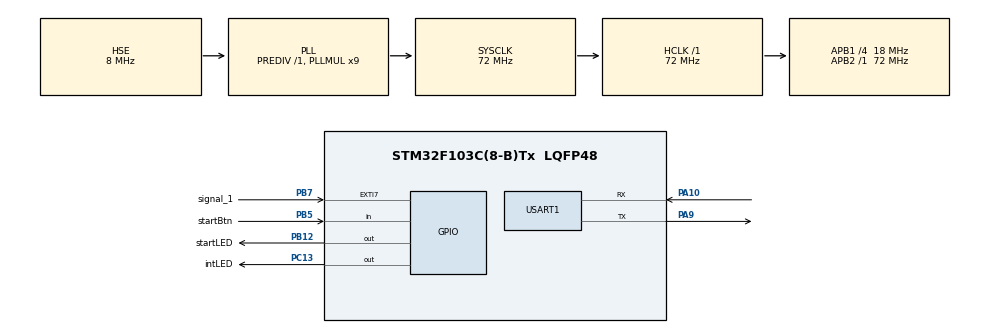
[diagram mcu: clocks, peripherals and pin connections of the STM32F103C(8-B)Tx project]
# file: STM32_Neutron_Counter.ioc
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FREERTOS.Tasks01=defaultTask,24,128,StartDefaultTask,Default,NULL,Dynamic,NULL,NULL;ledTask,24,128,StartLedTask,Default,NULL,Dynamic,NULL,NULL;dispTask,24,128,StartDispTask,Default,NULL,Dynamic,NULL,NULL;uartTask,24,128,StartUartTask,Default,NULL,Dynamic,NULL,NULL;startBtnTask,24,128,startStartBtnTask,Default,NULL,Dynamic,NULL,NULL
FREERTOS.configTOTAL_HEAP_SIZE=4096
Mcu.Family=STM32F1
Mcu.Name=STM32F103C(8-B)Tx
Mcu.Package=LQFP48
NVIC.EXTI9_5_IRQn=true\:0\:0\:false\:false\:true\:false\:true\:true
NVIC.PriorityGroup=NVIC_PRIORITYGROUP_4
NVIC.TIM2_IRQn=true\:0\:0\:false\:false\:true\:false\:false\:true
NVIC.TIM3_IRQn=true\:5\:0\:false\:false\:true\:true\:true\:true
NVIC.TimeBase=TIM2_IRQn
NVIC.TimeBaseIP=TIM2
PA10.Mode=Asynchronous
PA10.Signal=USART1_RX
PA13.Mode=Serial_Wire
PA13.Signal=SYS_JTMS-SWDIO
PA14.Mode=Serial_Wire
PA14.Signal=SYS_JTCK-SWCLK
PA9.Mode=Asynchronous
PA9.Signal=USART1_TX
PB12.GPIO_Label=startLED
PB12.GPIO_ModeDefaultOutputPP=GPIO_MODE_OUTPUT_PP
PB12.GPIO_PuPd=GPIO_NOPULL
PB12.Signal=GPIO_Output
PB5.GPIO_Label=startBtn
PB5.Signal=GPIO_Input
PB7.GPIO_Label=signal_1
PB7.GPIO_ModeDefaultEXTI=GPIO_MODE_IT_RISING_FALLING
PB7.Signal=GPXTI7
PC13-TAMPER-RTC.GPIO_Label=intLED
PC13-TAMPER-RTC.GPIO_ModeDefaultOutputPP=GPIO_MODE_OUTPUT_OD
PC13-TAMPER-RTC.Signal=GPIO_Output
PD0-OSC_IN.Mode=HSE-External-Oscillator
PD0-OSC_IN.Signal=RCC_OSC_IN
PD1-OSC_OUT.Mode=HSE-External-Oscillator
PD1-OSC_OUT.Signal=RCC_OSC_OUT
ProjectManager.HeapSize=0x200
ProjectManager.StackSize=0x400
ProjectManager.TargetToolchain=STM32CubeIDE
RCC.AHBFreq_Value=72000000
RCC.APB1CLKDivider=RCC_HCLK_DIV4
RCC.APB1Freq_Value=18000000
RCC.APB1TimFreq_Value=36000000
RCC.APB2Freq_Value=72000000
RCC.APB2TimFreq_Value=72000000
RCC.HCLKFreq_Value=72000000
RCC.PLLMUL=RCC_PLL_MUL9
RCC.PLLSourceVirtual=RCC_PLLSOURCE_HSE
RCC.SYSCLKFreq_VALUE=72000000
RCC.SYSCLKSource=RCC_SYSCLKSOURCE_PLLCLK
RCC.USBFreq_Value=72000000
TIM3.Period=499
TIM3.Prescaler=3599
TIM3.TIM_MasterOutputTrigger=TIM_TRGO_UPDATE
USART1.VirtualMode=VM_ASYNC
VP_FREERTOS_VS_CMSIS_V2.Mode=CMSIS_V2
VP_SYS_VS_tim2.Mode=TIM2
VP_TIM3_VS_ClockSourceINT.Mode=Internal
board=custom

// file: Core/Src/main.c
/* USER CODE BEGIN Header */
/**
  ******************************************************************************
  * @file           : main.c
  * @brief          : Main program body
  ******************************************************************************
  * @attention
  *
  * <h2><center>&copy; Copyright (c) 2020 STMicroelectronics.
  * All rights reserved.</center></h2>
  *
  * This software component is licensed by ST under BSD 3-Clause license,
  * the "License"; You may not use this file except in compliance with the
  * License. You may obtain a copy of the License at:
  *                        opensource.org/licenses/BSD-3-Clause
  *
  ******************************************************************************
  */
/* USER CODE END Header */

#include "main.h"
#include "cmsis_os.h"

/* USER CODE BEGIN Includes */
#include "stdio.h"
#include "stm32_tm1637.h"
#include "stm32f1xx_ll_tim.h"
/* USER CODE END Includes */

TIM_HandleTypeDef htim3;

UART_HandleTypeDef huart1;

/* Definitions for defaultTask */
osThreadId_t defaultTaskHandle;
const osThreadAttr_t defaultTask_attributes = {
  .name = "defaultTask",
  .priority = (osPriority_t) osPriorityNormal,
  .stack_size = 128 * 4
};
/* Definitions for ledTask */
osThreadId_t ledTaskHandle;
const osThreadAttr_t ledTask_attributes = {
  .name = "ledTask",
  .priority = (osPriority_t) osPriorityNormal,
  .stack_size = 128 * 4
};
/* Definitions for dispTask */
osThreadId_t dispTaskHandle;
const osThreadAttr_t dispTask_attributes = {
  .name = "dispTask",
  .priority = (osPriority_t) osPriorityNormal,
  .stack_size = 128 * 4
};
/* Definitions for uartTask */
osThreadId_t uartTaskHandle;
const osThreadAttr_t uartTask_attributes = {
  .name = "uartTask",
  .priority = (osPriority_t) osPriorityNormal,
  .stack_size = 128 * 4
};
/* Definitions for startBtnTask */
osThreadId_t startBtnTaskHandle;
const osThreadAttr_t startBtnTask_attributes = {
  .name = "startBtnTask",
  .priority = (osPriority_t) osPriorityNormal,
  .stack_size = 128 * 4
};
/* USER CODE BEGIN PV */

int __io_putchar(int ch)
{
	HAL_UART_Transmit(&huart1, (uint8_t *)&ch, 1, 0xFFFF);
	return ch;
}

int _write(int file, char *ptr, int len)
{
int DataIdx;
 for (DataIdx = 0; DataIdx < len; DataIdx++){ __io_putchar( *ptr++ );}
 return len;
}

volatile uint32_t count = 0;
volatile uint16_t countAllowed = 0;
volatile uint16_t mainCounter = 0;
extern int pressed;

/* USER CODE END PV */

void SystemClock_Config(void);
static void MX_GPIO_Init(void);
static void MX_USART1_UART_Init(void);
static void MX_TIM3_Init(void);
void StartDefaultTask(void *argument);
void StartLedTask(void *argument);
void StartDispTask(void *argument);
void StartUartTask(void *argument);
void startStartBtnTask(void *argument);

int main(void)
{

  /* MCU Configuration--------------------------------------------------------*/

  /* Reset of all peripherals, Initializes the Flash interface and the Systick. */
  HAL_Init();

  /* Configure the system clock */
  SystemClock_Config();

  /* Initialize all configured peripherals */
  MX_GPIO_Init();
  MX_USART1_UART_Init();
  MX_TIM3_Init();
  /* USER CODE BEGIN 2 */
  LL_TIM_ClearFlag_UPDATE(TIM3);
  __HAL_TIM_ENABLE_IT(&htim3, TIM_IT_UPDATE);
  printf("Count = %d   after IT enable\n\r", mainCounter);
//  HAL_TIM_Base_Stop(&htim3);
  /* USER CODE END 2 */

  /* Init scheduler */
  osKernelInitialize();

  /* Create the thread(s) */
  /* creation of defaultTask */
  defaultTaskHandle = osThreadNew(StartDefaultTask, NULL, &defaultTask_attributes);

  /* creation of ledTask */
  ledTaskHandle = osThreadNew(StartLedTask, NULL, &ledTask_attributes);

  /* creation of dispTask */
  dispTaskHandle = osThreadNew(StartDispTask, NULL, &dispTask_attributes);

  /* creation of uartTask */
  uartTaskHandle = osThreadNew(StartUartTask, NULL, &uartTask_attributes);

  /* creation of startBtnTask */
  startBtnTaskHandle = osThreadNew(startStartBtnTask, NULL, &startBtnTask_attributes);

  /* USER CODE BEGIN RTOS_THREADS */
  /* add threads, ... */
  tm1637Init();
  /* USER CODE END RTOS_THREADS */

  /* Start scheduler */
  osKernelStart();

  /* We should never get here as control is now taken by the scheduler */
  /* Infinite loop */
  while (1)
  {

  }
}

void SystemClock_Config(void)
{
  RCC_OscInitTypeDef RCC_OscInitStruct = {0};
  RCC_ClkInitTypeDef RCC_ClkInitStruct = {0};

  /** Initializes the CPU, AHB and APB busses clocks
  */
  RCC_OscInitStruct.OscillatorType = RCC_OSCILLATORTYPE_HSE;
  RCC_OscInitStruct.HSEState = RCC_HSE_ON;
  RCC_OscInitStruct.HSEPredivValue = RCC_HSE_PREDIV_DIV1;
  RCC_OscInitStruct.HSIState = RCC_HSI_ON;
  RCC_OscInitStruct.PLL.PLLState = RCC_PLL_ON;
  RCC_OscInitStruct.PLL.PLLSource = RCC_PLLSOURCE_HSE;
  RCC_OscInitStruct.PLL.PLLMUL = RCC_PLL_MUL9;
  if (HAL_RCC_OscConfig(&RCC_OscInitStruct) != HAL_OK)
  {
    Error_Handler();
  }
  /** Initializes the CPU, AHB and APB busses clocks
  */
  RCC_ClkInitStruct.ClockType = RCC_CLOCKTYPE_HCLK|RCC_CLOCKTYPE_SYSCLK
                              |RCC_CLOCKTYPE_PCLK1|RCC_CLOCKTYPE_PCLK2;
  RCC_ClkInitStruct.SYSCLKSource = RCC_SYSCLKSOURCE_PLLCLK;
  RCC_ClkInitStruct.AHBCLKDivider = RCC_SYSCLK_DIV1;
  RCC_ClkInitStruct.APB1CLKDivider = RCC_HCLK_DIV4;
  RCC_ClkInitStruct.APB2CLKDivider = RCC_HCLK_DIV1;

  if (HAL_RCC_ClockConfig(&RCC_ClkInitStruct, FLASH_LATENCY_2) != HAL_OK)
  {
    Error_Handler();
  }
}

static void MX_TIM3_Init(void)
{

  TIM_ClockConfigTypeDef sClockSourceConfig = {0};
  TIM_MasterConfigTypeDef sMasterConfig = {0};

  htim3.Instance = TIM3;
  htim3.Init.Prescaler = 3599;
  htim3.Init.CounterMode = TIM_COUNTERMODE_UP;
  htim3.Init.Period = 499;
  htim3.Init.ClockDivision = TIM_CLOCKDIVISION_DIV1;
  htim3.Init.AutoReloadPreload = TIM_AUTORELOAD_PRELOAD_DISABLE;
  if (HAL_TIM_Base_Init(&htim3) != HAL_OK)
  {
    Error_Handler();
  }
  sClockSourceConfig.ClockSource = TIM_CLOCKSOURCE_INTERNAL;
  if (HAL_TIM_ConfigClockSource(&htim3, &sClockSourceConfig) != HAL_OK)
  {
    Error_Handler();
  }
  sMasterConfig.MasterOutputTrigger = TIM_TRGO_UPDATE;
  sMasterConfig.MasterSlaveMode = TIM_MASTERSLAVEMODE_DISABLE;
  if (HAL_TIMEx_MasterConfigSynchronization(&htim3, &sMasterConfig) != HAL_OK)
  {
    Error_Handler();
  }

}

static void MX_USART1_UART_Init(void)
{

  huart1.Instance = USART1;
  huart1.Init.BaudRate = 115200;
  huart1.Init.WordLength = UART_WORDLENGTH_8B;
  huart1.Init.StopBits = UART_STOPBITS_1;
  huart1.Init.Parity = UART_PARITY_NONE;
  huart1.Init.Mode = UART_MODE_TX_RX;
  huart1.Init.HwFlowCtl = UART_HWCONTROL_NONE;
  huart1.Init.OverSampling = UART_OVERSAMPLING_16;
  if (HAL_UART_Init(&huart1) != HAL_OK)
  {
    Error_Handler();
  }

}

static void MX_GPIO_Init(void)
{
  GPIO_InitTypeDef GPIO_InitStruct = {0};

  /* GPIO Ports Clock Enable */
  __HAL_RCC_GPIOC_CLK_ENABLE();
  __HAL_RCC_GPIOD_CLK_ENABLE();
  __HAL_RCC_GPIOB_CLK_ENABLE();
  __HAL_RCC_GPIOA_CLK_ENABLE();

  /*Configure GPIO pin Output Level */
  HAL_GPIO_WritePin(intLED_GPIO_Port, intLED_Pin, GPIO_PIN_RESET);

  /*Configure GPIO pin Output Level */
  HAL_GPIO_WritePin(startLED_GPIO_Port, startLED_Pin, GPIO_PIN_RESET);

  /*Configure GPIO pin : intLED_Pin */
  GPIO_InitStruct.Pin = intLED_Pin;
  GPIO_InitStruct.Mode = GPIO_MODE_OUTPUT_OD;
  GPIO_InitStruct.Pull = GPIO_NOPULL;
  GPIO_InitStruct.Speed = GPIO_SPEED_FREQ_LOW;
  HAL_GPIO_Init(intLED_GPIO_Port, &GPIO_InitStruct);

  /*Configure GPIO pin : startLED_Pin */
  GPIO_InitStruct.Pin = startLED_Pin;
  GPIO_InitStruct.Mode = GPIO_MODE_OUTPUT_PP;
  GPIO_InitStruct.Pull = GPIO_NOPULL;
  GPIO_InitStruct.Speed = GPIO_SPEED_FREQ_LOW;
  HAL_GPIO_Init(startLED_GPIO_Port, &GPIO_InitStruct);

  /*Configure GPIO pin : startBtn_Pin */
  GPIO_InitStruct.Pin = startBtn_Pin;
  GPIO_InitStruct.Mode = GPIO_MODE_INPUT;
  GPIO_InitStruct.Pull = GPIO_NOPULL;
  HAL_GPIO_Init(startBtn_GPIO_Port, &GPIO_InitStruct);

  /*Configure GPIO pin : signal_1_Pin */
  GPIO_InitStruct.Pin = signal_1_Pin;
  GPIO_InitStruct.Mode = GPIO_MODE_IT_RISING_FALLING;
  GPIO_InitStruct.Pull = GPIO_NOPULL;
  HAL_GPIO_Init(signal_1_GPIO_Port, &GPIO_InitStruct);

  /* EXTI interrupt init*/
  HAL_NVIC_SetPriority(EXTI9_5_IRQn, 0, 0);
  HAL_NVIC_EnableIRQ(EXTI9_5_IRQn);

}

void StartDefaultTask(void *argument)
{
  for(;;)
  {
    osDelay(1);
  }
}

void StartLedTask(void *argument)
{
  /* USER CODE BEGIN StartLedTask */
  /* Infinite loop */
  for(;;)
  {
	  if (countAllowed)
	  {
		  HAL_GPIO_TogglePin(intLED_GPIO_Port, intLED_Pin);
		  ++count;
	  }
	  osDelay(300);
  }
  /* USER CODE END StartLedTask */
}

void StartDispTask(void *argument)
{
  /* USER CODE BEGIN StartDispTask */
  /* Infinite loop */
  for(;;)
  {
	  tm1637DisplayDecimal(mainCounter, 0);
//	  printf("%ld\n\r", count);

  }
  osDelay(100);
  /* USER CODE END StartDispTask */
}

void StartUartTask(void *argument)
{
  /* USER CODE BEGIN StartUartTask */
  /* Infinite loop */
  for(;;)
  {
//	  if (countAllowed)
//	  {
		  printf("Count = %ld   CountAllowed = %d\n\r", count, countAllowed);
		  osDelay(1000);
//	  }
  }
  /* USER CODE END StartUartTask */
}

void startStartBtnTask(void *argument)
{
  /* USER CODE BEGIN startStartBtnTask */
  /* Infinite loop */
  for(;;)
  {
	  countAllowed =  HAL_GPIO_ReadPin(startBtn_GPIO_Port, startBtn_Pin);
	  if (countAllowed)
	  {
		  mainCounter = 0;
		  HAL_GPIO_WritePin(startLED_GPIO_Port, startLED_Pin, GPIO_PIN_SET);
		  osDelay(5000);
		  HAL_GPIO_WritePin(startLED_GPIO_Port, startLED_Pin, GPIO_PIN_RESET);
		  pressed = 0;
		  HAL_TIM_Base_Stop(&htim3);
	  }
	  else osDelay(1);
  }
  /* USER CODE END startStartBtnTask */
}

 /**
  * @brief  Period elapsed callback in non blocking mode
  * @note   This function is called  when TIM2 interrupt took place, inside
  * HAL_TIM_IRQHandler(). It makes a direct call to HAL_IncTick() to increment
  * a global variable "uwTick" used as application time base.
  * @param  htim : TIM handle
  * @retval None
  */
void HAL_TIM_PeriodElapsedCallback(TIM_HandleTypeDef *htim)
{
  if (htim->Instance == TIM2) {
    HAL_IncTick();
  }
}

void Error_Handler(void)
{
}

/************************ (C) COPYRIGHT STMicroelectronics *****END OF FILE****/
